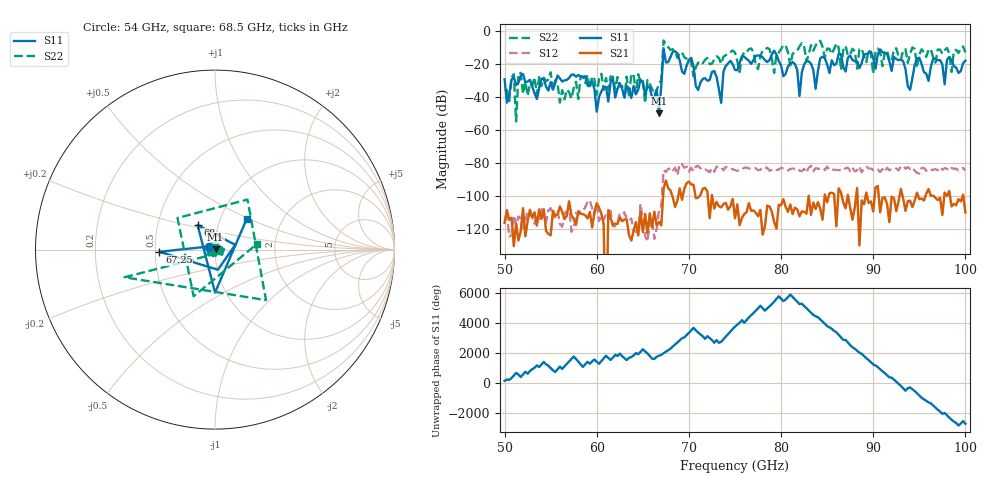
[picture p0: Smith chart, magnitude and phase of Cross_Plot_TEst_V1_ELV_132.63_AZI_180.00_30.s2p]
! 11/25/2026 1:29:30 PM
! C:\ANRITSUVNA\TEMP\TEMP.S2P
! CHANNEL.1
! TR.MEASUREMENT
! RAW.DATA
# HZ S RI R 50.0
! FREQ.HZ  S11RE  S11IM  S21RE  S21IM  S12RE  S12IM  S22RE  S22IM
!; PortSelection: Port_12
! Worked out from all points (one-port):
!   201 points, 50 GHz to 100 GHz, reference 50 ohm
!   lowest |S11| = -49.7 dB at 66.75 GHz (marker M1), VSWR 1.01, Z = 50.3 + j0.0729 ohm
!   |S11| at or under -10 dB: start of sweep to end of sweep
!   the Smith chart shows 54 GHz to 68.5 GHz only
!   S11 on the Smith chart (normalised r, x): 54 GHz: 0.93, +0.03; 67.25 GHz: 0.53, -0.01; 68 GHz: 0.80, +0.22; 68.5 GHz: 1.33, +0.49
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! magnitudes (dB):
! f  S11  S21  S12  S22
! 50 GHz  -29.2  -116.3  -116.0  -35.6
! 51 GHz  -27.9  -130.5  -111.6  -26.0
! 51.25 GHz  -32.6  -116.6  -117.7  -54.8
! 51.5 GHz  -31.2  -127.0  -112.4  -25.7
! 54 GHz  -28.7  -113.9  -107.9  -33.2
! 58.5 GHz  -27.7  -111.0  -109.1  -27.6
! 60 GHz  -48.8  -104.4  -104.4  -38.5
! 61.75 GHz  -28.4  -117.6  -118.4  -27.7
! 66.75 GHz  -49.7  -115.8  -108.5  -31.9
! 67.25 GHz  -10.2  -95.7  -84.4  -5.6
! 68 GHz  -15.5  -96.7  -83.2  -11.3
! 68.5 GHz  -12.1  -106.7  -82.7  -12.6
! 73.5 GHz  -43.5  -106.9  -82.7  -19.7
! 73.75 GHz  -24.4  -104.9  -84.4  -15.4
! 75 GHz  -23.5  -113.5  -84.3  -13.0
! 79.25 GHz  -11.8  -115.7  -83.7  -25.3
! 82 GHz  -39.3  -112.3  -84.6  -9.2
! 83.5 GHz  -23.5  -104.0  -85.0  -11.8
! 91.75 GHz  -18.1  -115.9  -84.4  -17.6
! 94 GHz  -35.6  -102.8  -83.6  -13.7
! 94.75 GHz  -16.5  -98.0  -85.9  -21.0
! 100 GHz  -17.9  -110.0  -84.4  -12.8
